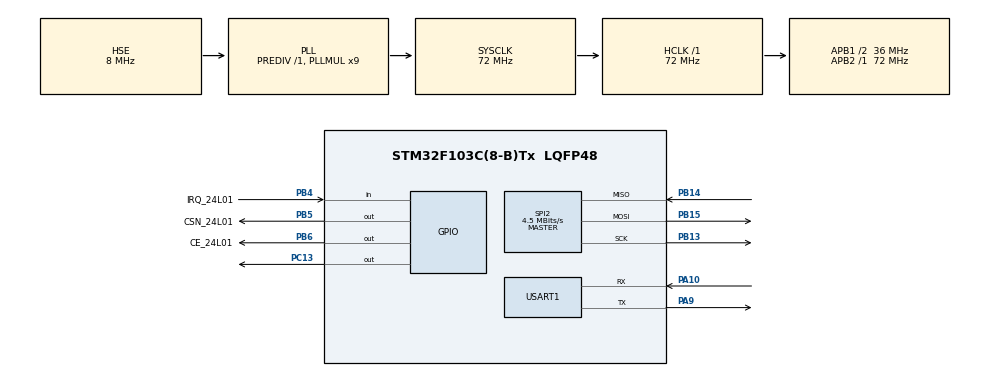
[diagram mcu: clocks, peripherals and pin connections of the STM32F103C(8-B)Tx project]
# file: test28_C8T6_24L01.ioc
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Mcu.Family=STM32F1
Mcu.Name=STM32F103C(8-B)Tx
Mcu.Package=LQFP48
NVIC.PriorityGroup=NVIC_PRIORITYGROUP_4
NVIC.USART1_IRQn=true\:0\:0\:false\:false\:true\:true\:true
PA10.Mode=Asynchronous
PA10.Signal=USART1_RX
PA13.Mode=Serial_Wire
PA13.Signal=SYS_JTMS-SWDIO
PA14.Mode=Serial_Wire
PA14.Signal=SYS_JTCK-SWCLK
PA9.Mode=Asynchronous
PA9.Signal=USART1_TX
PB13.Mode=Full_Duplex_Master
PB13.Signal=SPI2_SCK
PB14.Mode=Full_Duplex_Master
PB14.Signal=SPI2_MISO
PB15.Mode=Full_Duplex_Master
PB15.Signal=SPI2_MOSI
PB4.GPIO_Label=IRQ_24L01
PB4.GPIO_PuPd=GPIO_PULLUP
PB4.Signal=GPIO_Input
PB5.GPIO_Label=CSN_24L01
PB5.GPIO_Speed=GPIO_SPEED_FREQ_HIGH
PB5.PinState=GPIO_PIN_SET
PB5.Signal=GPIO_Output
PB6.GPIO_Label=CE_24L01
PB6.GPIO_Speed=GPIO_SPEED_FREQ_HIGH
PB6.PinState=GPIO_PIN_SET
PB6.Signal=GPIO_Output
PC13-TAMPER-RTC.Signal=GPIO_Output
PC14-OSC32_IN.Mode=LSE-External-Oscillator
PC14-OSC32_IN.Signal=RCC_OSC32_IN
PC15-OSC32_OUT.Mode=LSE-External-Oscillator
PC15-OSC32_OUT.Signal=RCC_OSC32_OUT
PD0-OSC_IN.Mode=HSE-External-Oscillator
PD0-OSC_IN.Signal=RCC_OSC_IN
PD1-OSC_OUT.Mode=HSE-External-Oscillator
PD1-OSC_OUT.Signal=RCC_OSC_OUT
ProjectManager.HeapSize=0x200
ProjectManager.StackSize=0x400
ProjectManager.TargetToolchain=MDK-ARM V5
RCC.AHBFreq_Value=72000000
RCC.APB1CLKDivider=RCC_HCLK_DIV2
RCC.APB1Freq_Value=36000000
RCC.APB1TimFreq_Value=72000000
RCC.APB2Freq_Value=72000000
RCC.APB2TimFreq_Value=72000000
RCC.HCLKFreq_Value=72000000
RCC.PLLMUL=RCC_PLL_MUL9
RCC.PLLSourceVirtual=RCC_PLLSOURCE_HSE
RCC.SYSCLKFreq_VALUE=72000000
RCC.SYSCLKSource=RCC_SYSCLKSOURCE_PLLCLK
RCC.USBFreq_Value=72000000
SPI2.BaudRatePrescaler=SPI_BAUDRATEPRESCALER_8
SPI2.CalculateBaudRate=4.5 MBits/s
SPI2.Direction=SPI_DIRECTION_2LINES
SPI2.Mode=SPI_MODE_MASTER
SPI2.VirtualType=VM_MASTER
USART1.VirtualMode=VM_ASYNC
board=custom

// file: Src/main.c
/* USER CODE BEGIN Header */
/**
  ******************************************************************************
  * @file           : main.c
  * @brief          : Main program body
  ******************************************************************************
  * @attention
  *
  * <h2><center>&copy; Copyright (c) 2022 STMicroelectronics.
  * All rights reserved.</center></h2>
  *
  * This software component is licensed by ST under BSD 3-Clause license,
  * the "License"; You may not use this file except in compliance with the
  * License. You may obtain a copy of the License at:
  *                        opensource.org/licenses/BSD-3-Clause
  *
  ******************************************************************************
  */
/* USER CODE END Header */
#include "main.h"
#include "spi.h"
#include "usart.h"
#include "gpio.h"

void SystemClock_Config(void);

/* USER CODE BEGIN 0 */
#include "nRF24L01.h"
#include "stdio.h"

unsigned char tmp_buf[32] = {0};
unsigned char tmp_buf2[32] = {0};
unsigned char temp;
/* USER CODE END 0 */

int main(void)
{

  /* MCU Configuration--------------------------------------------------------*/

  /* Reset of all peripherals, Initializes the Flash interface and the Systick. */
  HAL_Init();

  /* Configure the system clock */
  SystemClock_Config();

  /* Initialize all configured peripherals */
  MX_GPIO_Init();
  MX_USART1_UART_Init();
  MX_SPI2_Init();
  /* USER CODE BEGIN 2 */
	printf("\r\ninit OK!\r\n");
	NRF24L01_Init();

	temp = 4;
	while(NRF24L01_Check()&&(temp--));

	RX_Mode();

  /* USER CODE END 2 */

  /* Infinite loop */
  while (1)
  {

    /* USER CODE BEGIN 3 */

		if(NRF24L01_RxPacket(tmp_buf) == 0)
		{
			unsigned char i;
			for(i=0;i<32;i++)
				printf(" %x",tmp_buf[i]);

			printf("\r\n");
		}

  }
  /* USER CODE END 3 */
}

void SystemClock_Config(void)
{
  RCC_OscInitTypeDef RCC_OscInitStruct = {0};
  RCC_ClkInitTypeDef RCC_ClkInitStruct = {0};

  /** Initializes the RCC Oscillators according to the specified parameters
  * in the RCC_OscInitTypeDef structure.
  */
  RCC_OscInitStruct.OscillatorType = RCC_OSCILLATORTYPE_HSE;
  RCC_OscInitStruct.HSEState = RCC_HSE_ON;
  RCC_OscInitStruct.HSEPredivValue = RCC_HSE_PREDIV_DIV1;
  RCC_OscInitStruct.HSIState = RCC_HSI_ON;
  RCC_OscInitStruct.PLL.PLLState = RCC_PLL_ON;
  RCC_OscInitStruct.PLL.PLLSource = RCC_PLLSOURCE_HSE;
  RCC_OscInitStruct.PLL.PLLMUL = RCC_PLL_MUL9;
  if (HAL_RCC_OscConfig(&RCC_OscInitStruct) != HAL_OK)
  {
    Error_Handler();
  }
  /** Initializes the CPU, AHB and APB buses clocks
  */
  RCC_ClkInitStruct.ClockType = RCC_CLOCKTYPE_HCLK|RCC_CLOCKTYPE_SYSCLK
                              |RCC_CLOCKTYPE_PCLK1|RCC_CLOCKTYPE_PCLK2;
  RCC_ClkInitStruct.SYSCLKSource = RCC_SYSCLKSOURCE_PLLCLK;
  RCC_ClkInitStruct.AHBCLKDivider = RCC_SYSCLK_DIV1;
  RCC_ClkInitStruct.APB1CLKDivider = RCC_HCLK_DIV2;
  RCC_ClkInitStruct.APB2CLKDivider = RCC_HCLK_DIV1;

  if (HAL_RCC_ClockConfig(&RCC_ClkInitStruct, FLASH_LATENCY_2) != HAL_OK)
  {
    Error_Handler();
  }
}

void Error_Handler(void)
{
  __disable_irq();
  while (1)
  {
  }
}

/************************ (C) COPYRIGHT STMicroelectronics *****END OF FILE****/
